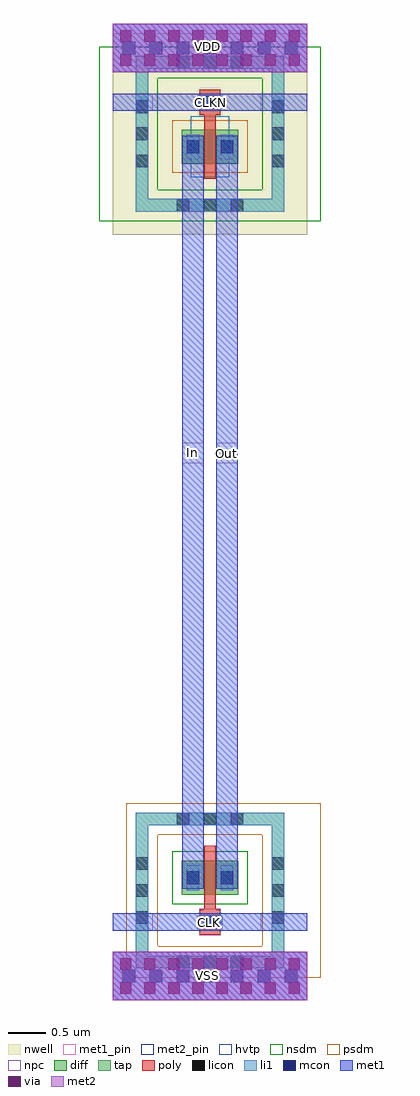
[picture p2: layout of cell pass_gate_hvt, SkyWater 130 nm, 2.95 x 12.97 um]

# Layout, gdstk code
import gdstk
lib = gdstk.Library(unit=1e-6, precision=1e-09)
def R(c, l, rs):  # rectangles x0, y0, x1, y1
    for r in rs: c.add(gdstk.rectangle(r[:2], r[2:], *l))
def A(c, l, x, y, w, h, nx, ny, dx, dy):  # array of equal rectangles
    R(c, l, [(x+i*dx, y+j*dy, x+i*dx+w, y+j*dy+h) for i in range(nx) for j in range(ny)])
def P(c, l, *ps):  # polygons
    for p in ps: c.add(gdstk.Polygon(p, *l))
nwell = (64, 20)
diff = (65, 20)
tap = (65, 44)
poly = (66, 20)
licon = (66, 44)
li1 = (67, 20)
mcon = (67, 44)
met1_pin = (68, 16)
met1 = (68, 20)
via = (68, 44)
met2_pin = (69, 16)
met2 = (69, 20)
hvtp = (78, 44)
nsdm = (93, 44)
psdm = (94, 20)
npc = (95, 20)

pass_gate_hvt = lib.new_cell('pass_gate_hvt')
R(pass_gate_hvt, nwell, [(-0.78,7.805,1.81,10.485)])
R(pass_gate_hvt, diff, [(0.14,-0.965,0.89,-0.515), (0.14,8.75,0.89,9.2)])
P(pass_gate_hvt, tap, [(-0.475,-1.945),(-0.475,-0.045),(-0.305,-0.045),(-0.305,-1.775),(1.335,-1.775),(1.335,-0.045),(-0.475,-0.045),(-0.475,0.125),(1.505,0.125),(1.505,-1.945)],
  [(-0.475,8.11),(-0.475,10.01),(-0.305,10.01),(-0.305,8.28),(1.335,8.28),(1.335,10.01),(-0.475,10.01),(-0.475,10.18),(1.505,10.18),(1.505,8.11)])
R(pass_gate_hvt, poly, [(0.38,-1.495,0.65,-1.165), (0.44,-1.165,0.59,-0.315), (0.44,8.55,0.59,9.4), (0.38,9.4,0.65,9.73)])
A(pass_gate_hvt, licon, 0.07, -1.945, 0.17, 0.17, 3, 2, 0.36, 1.9)
A(pass_gate_hvt, licon, -0.475, -1.355, 0.17, 0.17, 1, 3, 0, 0.36)
A(pass_gate_hvt, licon, 1.335, -1.355, 0.17, 0.17, 1, 3, 0, 0.36)
A(pass_gate_hvt, licon, 0.07, 8.11, 0.17, 0.17, 3, 2, 0.36, 1.9)
A(pass_gate_hvt, licon, -0.475, 8.7, 0.17, 0.17, 1, 3, 0, 0.36)
A(pass_gate_hvt, licon, 1.335, 8.7, 0.17, 0.17, 1, 3, 0, 0.36)
R(pass_gate_hvt, licon, [(0.43,-1.415,0.6,-1.245), (0.205,-0.825,0.375,-0.655), (0.655,-0.825,0.825,-0.655), (0.205,8.89,0.375,9.06), (0.655,8.89,0.825,9.06), (0.43,9.48,0.6,9.65)])
R(pass_gate_hvt, li1, [(-0.78,-2.365,1.81,-1.725), (0.35,-1.415,0.68,-1.245), (0.205,-0.905,0.375,-0.575), (0.655,-0.905,0.825,-0.575), (0.205,8.81,0.375,9.14), (0.655,8.81,0.825,9.14), (0.35,9.48,0.68,9.65), (-0.78,9.965,1.81,10.605)])
P(pass_gate_hvt, li1, [(-0.475,-1.945),(-0.475,-0.045),(-0.305,-0.045),(-0.305,-1.775),(1.335,-1.775),(1.335,-0.045),(-0.475,-0.045),(-0.475,0.125),(1.505,0.125),(1.505,-1.945)],
  [(-0.475,8.11),(-0.475,10.01),(-0.305,10.01),(-0.305,8.28),(1.335,8.28),(1.335,10.01),(-0.475,10.01),(-0.475,10.18),(1.505,10.18),(1.505,8.11)])
A(pass_gate_hvt, mcon, -0.65, -2.13, 0.17, 0.17, 7, 2, 0.36, 12.33)
R(pass_gate_hvt, mcon, [(0.43,-1.415,0.6,-1.245), (0.205,-0.825,0.375,-0.655), (0.655,-0.825,0.825,-0.655), (0.205,8.89,0.375,9.06), (0.655,8.89,0.825,9.06), (0.43,9.48,0.6,9.65)])
R(pass_gate_hvt, met1_pin, [(-0.255,-1.445,1.195,-1.215), (0.145,4.77,0.435,5.04), (0.595,4.77,0.885,5.04), (-0.255,9.45,1.195,9.68)])
R(pass_gate_hvt, met1, [(-0.78,-2.365,1.81,-1.725), (-0.78,-1.445,1.81,-1.215), (0.33,-1.445,0.7,-1.215), (0.145,-0.885,0.435,-0.595), (0.595,-0.885,0.885,-0.595), (0.145,-0.595,0.435,8.83), (0.595,-0.595,0.885,8.83), (0.145,8.83,0.435,9.12), (0.595,8.83,0.885,9.12), (-0.78,9.45,1.81,9.68), (0.33,9.45,0.7,9.68), (-0.78,9.965,1.81,10.605)])
A(pass_gate_hvt, via, -0.68, -2.28, 0.15, 0.15, 8, 2, 0.32, 0.32)
A(pass_gate_hvt, via, -0.68, 10.05, 0.15, 0.15, 8, 2, 0.32, 0.32)
R(pass_gate_hvt, met2_pin, [(-0.78,-2.365,1.81,-1.725), (-0.78,9.965,1.81,10.605)])
R(pass_gate_hvt, met2, [(-0.78,-2.365,1.81,-1.725), (-0.78,9.965,1.81,10.605)])
R(pass_gate_hvt, hvtp, [(0.26,8.57,0.77,9.38)])
R(pass_gate_hvt, nsdm, [(0.015,-1.09,1.015,-0.39), (-0.96,7.985,-0.6,10.305), (1.63,7.985,1.99,10.305)])
P(pass_gate_hvt, nsdm, [(-0.6,7.985),(-0.6,9.885),(-0.18,9.885),(-0.18,8.405),(1.21,8.405),(1.21,9.885),(-0.6,9.885),(-0.6,10.305),(1.63,10.305),(1.63,7.985)])
R(pass_gate_hvt, psdm, [(1.63,-2.07,1.99,0.25), (0.015,8.625,1.015,9.325)])
P(pass_gate_hvt, psdm, [(-0.6,-2.07),(-0.6,-0.17),(-0.18,-0.17),(-0.18,-1.65),(1.21,-1.65),(1.21,-0.17),(-0.6,-0.17),(-0.6,0.25),(1.63,0.25),(1.63,-2.07)])
R(pass_gate_hvt, npc, [(0.37,-1.505,0.66,-1.155), (0.37,9.39,0.66,9.74)])
pass_gate_hvt.add(gdstk.Label('VDD', (0.485,10.31), layer=69, texttype=5))
pass_gate_hvt.add(gdstk.Label('VSS', (0.485,-2.035), layer=69, texttype=5))
pass_gate_hvt.add(gdstk.Label('CLK', (0.505,-1.33), layer=68, texttype=5))
pass_gate_hvt.add(gdstk.Label('In', (0.28,4.905), layer=68, texttype=5))
pass_gate_hvt.add(gdstk.Label('Out', (0.74,4.9), layer=68, texttype=5))
pass_gate_hvt.add(gdstk.Label('CLKN', (0.515,9.565), layer=68, texttype=5))

lib.write_gds('pass_gate_hvt.gds')
